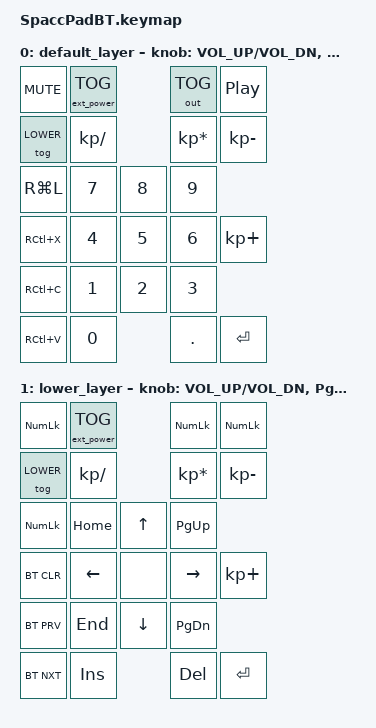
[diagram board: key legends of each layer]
/*
 * Copyright (c) 2020 The ZMK Contributors
 *
 * SPDX-License-Identifier: MIT
 */

#include <behaviors.dtsi>
#include <dt-bindings/zmk/keys.h>
#include <dt-bindings/zmk/bt.h>
#include <dt-bindings/zmk/ext_power.h>
#include <dt-bindings/zmk/outputs.h>

#define DEFAULT 0
#define LOWER   1

/ {
	
	keymap {
		compatible = "zmk,keymap";

		default_layer {
		
			
			bindings = <
					&kp C_MUTE &ext_power EP_TOG   &out OUT_TOG        &kp C_PP
					&tog LOWER &kp KP_SLASH        &kp KP_MULTIPLY  &kp KP_MINUS
			    &kp RG(L) &kp N7     &kp N8              &kp N9  	        
			    &kp RC(X) &kp N4     &kp N5              &kp N6		&kp KP_PLUS
			    &kp RC(C) &kp N1     &kp N2              &kp N3           
			    &kp RC(V) 	         &kp N0	             &kp DOT		&kp RETURN
			>;
			sensor-bindings = <&inc_dec_kp C_VOL_UP C_VOL_DN &inc_dec_kp C_NEXT C_PREV>;
		};

		lower_layer {
		
		
			bindings = <
					&kp KP_NLCK &ext_power EP_TOG   &kp KP_NLCK &kp KP_NLCK
					&tog LOWER  &kp KP_SLASH        &kp KP_MULTIPLY &kp KP_MINUS
		     	    &kp KP_NLCK &kp HOME    &kp UP       	&kp PAGE_UP     
			    &bt BT_CLR  &kp LEFT    &none        	&kp RIGHT	&kp KP_PLUS
			    &bt BT_PRV  &kp END     &kp DOWN     	&kp PAGE_DOWN   
			    &bt BT_NXT  	    &kp INSERT	        &kp DEL		&kp RETURN
			>;
				sensor-bindings = <&inc_dec_kp C_VOL_UP C_VOL_DN &inc_dec_kp PG_UP PG_DN>;
		};
	};
};
